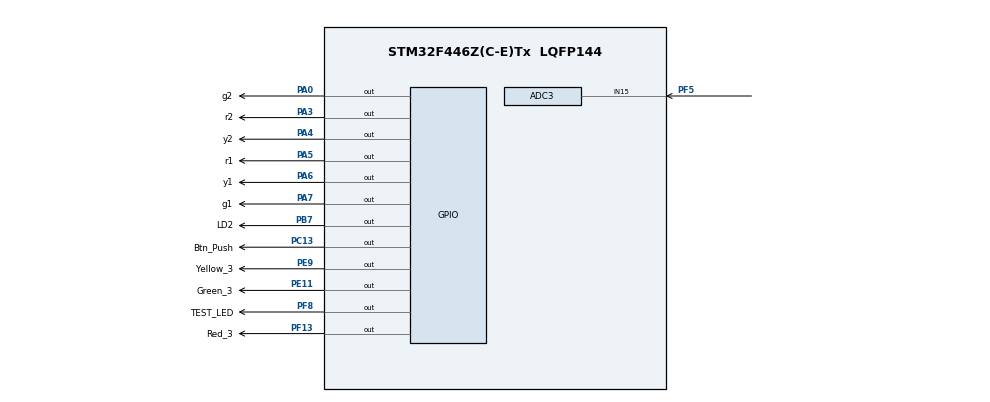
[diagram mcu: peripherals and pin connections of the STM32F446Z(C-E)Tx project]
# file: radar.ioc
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ADC3.Channel-0\#ChannelRegularConversion=ADC_CHANNEL_15
ADC3.NbrOfConversionFlag=1
ADC3.Rank-0\#ChannelRegularConversion=1
ADC3.SamplingTime-0\#ChannelRegularConversion=ADC_SAMPLETIME_3CYCLES
Dma.ADC3.0.Direction=DMA_PERIPH_TO_MEMORY
Dma.ADC3.0.FIFOMode=DMA_FIFOMODE_DISABLE
Dma.ADC3.0.Instance=DMA2_Stream0
Dma.ADC3.0.MemDataAlignment=DMA_MDATAALIGN_WORD
Dma.ADC3.0.MemInc=DMA_MINC_ENABLE
Dma.ADC3.0.Mode=DMA_CIRCULAR
Dma.ADC3.0.PeriphDataAlignment=DMA_PDATAALIGN_WORD
Dma.ADC3.0.PeriphInc=DMA_PINC_DISABLE
Dma.ADC3.0.Priority=DMA_PRIORITY_LOW
Dma.Request0=ADC3
Mcu.Family=STM32F4
Mcu.Name=STM32F446Z(C-E)Tx
Mcu.Package=LQFP144
NVIC.DMA2_Stream0_IRQn=true\:0\:0\:false\:false\:true\:false\:true\:true
NVIC.PriorityGroup=NVIC_PRIORITYGROUP_4
PA0-WKUP.GPIO_Label=g2
PA0-WKUP.Signal=GPIO_Output
PA3.GPIO_Label=r2
PA3.Signal=GPIO_Output
PA4.GPIO_Label=y2
PA4.Signal=GPIO_Output
PA5.GPIO_Label=r1
PA5.Signal=GPIO_Output
PA6.GPIO_Label=y1
PA6.Signal=GPIO_Output
PA7.GPIO_Label=g1
PA7.Signal=GPIO_Output
PB7.GPIO_Label=LD2
PB7.Signal=GPIO_Output
PC13.GPIO_Label=Btn_Push
PC13.Signal=GPIO_Output
PE11.GPIO_Label=Green_3
PE11.Signal=GPIO_Output
PE9.GPIO_Label=Yellow_3
PE9.Signal=GPIO_Output
PF13.GPIO_Label=Red_3
PF13.Signal=GPIO_Output
PF5.Mode=IN15
PF5.Signal=ADC3_IN15
PF8.GPIO_Label=TEST_LED
PF8.PinState=GPIO_PIN_SET
PF8.Signal=GPIO_Output
ProjectManager.HeapSize=0x200
ProjectManager.StackSize=0x400
ProjectManager.TargetToolchain=STM32CubeIDE
RCC.CortexFreq_Value=16000000
RCC.USBFreq_Value=96000000
RCC.VCOOutputFreq_Value=192000000
VP_TIM6_VS_ClockSourceINT.Mode=Enable_Timer
board=custom

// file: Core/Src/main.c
/* USER CODE BEGIN Header */
/**
  ******************************************************************************
  * @file           : main.c
  * @brief          : Main program body
  ******************************************************************************
  * @attention
  *
  * Copyright (c) 2024 STMicroelectronics.
  * All rights reserved.
  *
  * This software is licensed under terms that can be found in the LICENSE file
  * in the root directory of this software component.
  * If no LICENSE file comes with this software, it is provided AS-IS.
  *
  ******************************************************************************
  */
/* USER CODE END Header */
#include "main.h"

ADC_HandleTypeDef hadc3;
DMA_HandleTypeDef hdma_adc3;

TIM_HandleTypeDef htim6;

void SystemClock_Config(void);
static void MX_GPIO_Init(void);
static void MX_DMA_Init(void);
static void MX_ADC3_Init(void);
static void MX_TIM6_Init(void);

/* USER CODE BEGIN 0 */
//typedef struct State{
//	uint8_t output; //1-9
//	uint32_t time;
//	uint8_t next_state; //1-9
//}LightState;

typedef enum {
  STATE_EAST_WEST_GREEN,
  STATE_EAST_WEST_TRANSITION,  // East-West turns from green to red (through orange), North-South remains red
  STATE_NORTH_SOUTH_GREEN,
  STATE_NORTH_SOUTH_TRANSITION // North-South turns from green to red (through orange), East-West remains red
} TrafficState;

typedef struct State{
  TrafficState trafficState;
  uint16_t time;
  struct State* next_state;
} State;

/* USER CODE END 0 */

int main(void)
{
  /* USER CODE BEGIN 1 */
//	LightState light_1;
//	LightState light_2;
//	LightState light_3;

	//define states
	State east_west_green = {STATE_EAST_WEST_GREEN, 3000, NULL};
	State east_west_transition = {STATE_EAST_WEST_TRANSITION, 1000, NULL};
	State north_south_green = {STATE_NORTH_SOUTH_GREEN, 3000, NULL};
	State north_south_transition = {STATE_NORTH_SOUTH_TRANSITION, 1000, NULL};
  /* USER CODE END 1 */

  /* MCU Configuration--------------------------------------------------------*/

  /* Reset of all peripherals, Initializes the Flash interface and the Systick. */
  HAL_Init();

  /* USER CODE BEGIN Init */
  uint32_t timer;
//  if(HAL_TIM_Base_Start(&htim6)!=HAL_OK){
//	  Error_Handler(); //adjust the prescalar for TIM6 in config
//  }

  //if(status==HAL_OK)
  //timer = __HAL_TIM_GET_COUNTER(&htim6);
  /* USER CODE END Init */

  /* Configure the system clock */
  SystemClock_Config();

  /* Initialize all configured peripherals */
  MX_GPIO_Init();
  MX_DMA_Init();
  MX_ADC3_Init();
  MX_TIM6_Init();
  /* USER CODE BEGIN 2 */

  //loop the states
  east_west_green.next_state = &east_west_transition;
  east_west_transition.next_state = &north_south_green;
  north_south_green.next_state = &north_south_transition;
  north_south_transition.next_state = &east_west_green;

  //Set initial state
  State* current_state = &east_west_green;
  /* USER CODE END 2 */

  /* Infinite loop */
  /* USER CODE BEGIN WHILE */
  while (1)
  {
	  HAL_GPIO_TogglePin(LD2_GPIO_Port, LD2_Pin);
	  HAL_Delay(1000);
	  //timer= __HAL_TIM_GET_COUNTER(&htim6) - timer;
	  //for EW, pin A0 = Red, A1 = Orange, A2 = Green
	    //for NS, pin A3 = Red, A4 = Orange, A5 = Green
	    switch(current_state->trafficState) {
	      case STATE_EAST_WEST_GREEN:
	        HAL_GPIO_WritePin(GPIOA, g1_Pin | r2_Pin, GPIO_PIN_SET);
	        HAL_GPIO_WritePin(GPIOA, r1_Pin | y1_Pin | y2_Pin | g2_Pin, GPIO_PIN_RESET);
	        break;
	      case STATE_EAST_WEST_TRANSITION:
	        HAL_GPIO_WritePin(GPIOA, y1_Pin | r2_Pin, GPIO_PIN_SET);
	        HAL_GPIO_WritePin(GPIOA, r1_Pin | g1_Pin | y2_Pin | g2_Pin, GPIO_PIN_RESET);
	        break;
	      case STATE_NORTH_SOUTH_GREEN:
	        HAL_GPIO_WritePin(GPIOA, r1_Pin | g2_Pin, GPIO_PIN_SET);
	        HAL_GPIO_WritePin(GPIOA, y1_Pin | g1_Pin | r2_Pin | y2_Pin, GPIO_PIN_RESET);
	        break;
	      case STATE_NORTH_SOUTH_TRANSITION:
	        HAL_GPIO_WritePin(GPIOA, r1_Pin | y2_Pin, GPIO_PIN_SET);
	        HAL_GPIO_WritePin(GPIOA, y1_Pin | g1_Pin | r2_Pin | g2_Pin, GPIO_PIN_RESET);
	        break;
	    }
	    current_state=current_state->next_state;
	 //
	 //	  HAL_GPIO_TogglePin(GPIOA, Red_1_Pin);
	 //	  HAL_Delay(200);
	 //
	 //	  HAL_GPIO_TogglePin(GPIOA, Yellow_1_Pin);
	 //	  HAL_Delay(200);
	 //
	 //	  HAL_GPIO_TogglePin(GPIOA, Green_1_Pin);
	 //	  HAL_Delay(200);
	 //
	 //
	 //
	 //	  HAL_GPIO_TogglePin(GPIOD, Red_2_Pin);
	 //	  HAL_Delay(200);
	 //
	 //	  HAL_GPIO_TogglePin(GPIOD, Yellow_2_Pin);
	 //	  HAL_Delay(200);
	 //
	 //	  HAL_GPIO_TogglePin(GPIOF, Green_2_Pin);
	 //	  HAL_Delay(200);
	 //
	 //
	 //
	 //	  HAL_GPIO_TogglePin(GPIOF, Red_3_Pin);
	 //	  HAL_Delay(200);
	 //
	 //	  HAL_GPIO_TogglePin(GPIOE, Yellow_3_Pin);
	 //	  HAL_Delay(200);
	 //
	 //	  HAL_GPIO_TogglePin(GPIOE, Green_3_Pin);
	 //	  HAL_Delay(200);

    /* USER CODE END WHILE */

  }
}

void SystemClock_Config(void)
{
  RCC_OscInitTypeDef RCC_OscInitStruct = {0};
  RCC_ClkInitTypeDef RCC_ClkInitStruct = {0};

  /** Configure the main internal regulator output voltage
  */
  __HAL_RCC_PWR_CLK_ENABLE();
  __HAL_PWR_VOLTAGESCALING_CONFIG(PWR_REGULATOR_VOLTAGE_SCALE3);

  /** Initializes the RCC Oscillators according to the specified parameters
  * in the RCC_OscInitTypeDef structure.
  */
  RCC_OscInitStruct.OscillatorType = RCC_OSCILLATORTYPE_HSI;
  RCC_OscInitStruct.HSIState = RCC_HSI_ON;
  RCC_OscInitStruct.HSICalibrationValue = RCC_HSICALIBRATION_DEFAULT;
  RCC_OscInitStruct.PLL.PLLState = RCC_PLL_NONE;
  if (HAL_RCC_OscConfig(&RCC_OscInitStruct) != HAL_OK)
  {
    Error_Handler();
  }

  /** Initializes the CPU, AHB and APB buses clocks
  */
  RCC_ClkInitStruct.ClockType = RCC_CLOCKTYPE_HCLK|RCC_CLOCKTYPE_SYSCLK
                              |RCC_CLOCKTYPE_PCLK1|RCC_CLOCKTYPE_PCLK2;
  RCC_ClkInitStruct.SYSCLKSource = RCC_SYSCLKSOURCE_HSI;
  RCC_ClkInitStruct.AHBCLKDivider = RCC_SYSCLK_DIV1;
  RCC_ClkInitStruct.APB1CLKDivider = RCC_HCLK_DIV1;
  RCC_ClkInitStruct.APB2CLKDivider = RCC_HCLK_DIV1;

  if (HAL_RCC_ClockConfig(&RCC_ClkInitStruct, FLASH_LATENCY_0) != HAL_OK)
  {
    Error_Handler();
  }
}

static void MX_ADC3_Init(void)
{

  ADC_ChannelConfTypeDef sConfig = {0};

  /** Configure the global features of the ADC (Clock, Resolution, Data Alignment and number of conversion)
  */
  hadc3.Instance = ADC3;
  hadc3.Init.ClockPrescaler = ADC_CLOCK_SYNC_PCLK_DIV2;
  hadc3.Init.Resolution = ADC_RESOLUTION_12B;
  hadc3.Init.ScanConvMode = DISABLE;
  hadc3.Init.ContinuousConvMode = DISABLE;
  hadc3.Init.DiscontinuousConvMode = DISABLE;
  hadc3.Init.ExternalTrigConvEdge = ADC_EXTERNALTRIGCONVEDGE_NONE;
  hadc3.Init.ExternalTrigConv = ADC_SOFTWARE_START;
  hadc3.Init.DataAlign = ADC_DATAALIGN_RIGHT;
  hadc3.Init.NbrOfConversion = 1;
  hadc3.Init.DMAContinuousRequests = DISABLE;
  hadc3.Init.EOCSelection = ADC_EOC_SINGLE_CONV;
  if (HAL_ADC_Init(&hadc3) != HAL_OK)
  {
    Error_Handler();
  }

  /** Configure for the selected ADC regular channel its corresponding rank in the sequencer and its sample time.
  */
  sConfig.Channel = ADC_CHANNEL_15;
  sConfig.Rank = 1;
  sConfig.SamplingTime = ADC_SAMPLETIME_3CYCLES;
  if (HAL_ADC_ConfigChannel(&hadc3, &sConfig) != HAL_OK)
  {
    Error_Handler();
  }

}

static void MX_TIM6_Init(void)
{

  TIM_MasterConfigTypeDef sMasterConfig = {0};

  htim6.Instance = TIM6;
  htim6.Init.Prescaler = 0;
  htim6.Init.CounterMode = TIM_COUNTERMODE_UP;
  htim6.Init.Period = 65535;
  htim6.Init.AutoReloadPreload = TIM_AUTORELOAD_PRELOAD_DISABLE;
  if (HAL_TIM_Base_Init(&htim6) != HAL_OK)
  {
    Error_Handler();
  }
  sMasterConfig.MasterOutputTrigger = TIM_TRGO_RESET;
  sMasterConfig.MasterSlaveMode = TIM_MASTERSLAVEMODE_DISABLE;
  if (HAL_TIMEx_MasterConfigSynchronization(&htim6, &sMasterConfig) != HAL_OK)
  {
    Error_Handler();
  }

}

static void MX_DMA_Init(void)
{

  /* DMA controller clock enable */
  __HAL_RCC_DMA2_CLK_ENABLE();

  /* DMA interrupt init */
  /* DMA2_Stream0_IRQn interrupt configuration */
  HAL_NVIC_SetPriority(DMA2_Stream0_IRQn, 0, 0);
  HAL_NVIC_EnableIRQ(DMA2_Stream0_IRQn);

}

static void MX_GPIO_Init(void)
{
  GPIO_InitTypeDef GPIO_InitStruct = {0};

  /* GPIO Ports Clock Enable */
  __HAL_RCC_GPIOC_CLK_ENABLE();
  __HAL_RCC_GPIOF_CLK_ENABLE();
  __HAL_RCC_GPIOA_CLK_ENABLE();
  __HAL_RCC_GPIOE_CLK_ENABLE();
  __HAL_RCC_GPIOB_CLK_ENABLE();

  /*Configure GPIO pin Output Level */
  HAL_GPIO_WritePin(Btn_Push_GPIO_Port, Btn_Push_Pin, GPIO_PIN_RESET);

  /*Configure GPIO pin Output Level */
  HAL_GPIO_WritePin(TEST_LED_GPIO_Port, TEST_LED_Pin, GPIO_PIN_SET);

  /*Configure GPIO pin Output Level */
  HAL_GPIO_WritePin(GPIOA, g2_Pin|r2_Pin|y2_Pin|r1_Pin
                          |y1_Pin|g1_Pin, GPIO_PIN_RESET);

  /*Configure GPIO pin Output Level */
  HAL_GPIO_WritePin(Red_3_GPIO_Port, Red_3_Pin, GPIO_PIN_RESET);

  /*Configure GPIO pin Output Level */
  HAL_GPIO_WritePin(GPIOE, Yellow_3_Pin|Green_3_Pin, GPIO_PIN_RESET);

  /*Configure GPIO pin Output Level */
  HAL_GPIO_WritePin(LD2_GPIO_Port, LD2_Pin, GPIO_PIN_RESET);

  /*Configure GPIO pin : Btn_Push_Pin */
  GPIO_InitStruct.Pin = Btn_Push_Pin;
  GPIO_InitStruct.Mode = GPIO_MODE_OUTPUT_PP;
  GPIO_InitStruct.Pull = GPIO_NOPULL;
  GPIO_InitStruct.Speed = GPIO_SPEED_FREQ_LOW;
  HAL_GPIO_Init(Btn_Push_GPIO_Port, &GPIO_InitStruct);

  /*Configure GPIO pins : TEST_LED_Pin Red_3_Pin */
  GPIO_InitStruct.Pin = TEST_LED_Pin|Red_3_Pin;
  GPIO_InitStruct.Mode = GPIO_MODE_OUTPUT_PP;
  GPIO_InitStruct.Pull = GPIO_NOPULL;
  GPIO_InitStruct.Speed = GPIO_SPEED_FREQ_LOW;
  HAL_GPIO_Init(GPIOF, &GPIO_InitStruct);

  /*Configure GPIO pins : g2_Pin r2_Pin y2_Pin r1_Pin
                           y1_Pin g1_Pin */
  GPIO_InitStruct.Pin = g2_Pin|r2_Pin|y2_Pin|r1_Pin
                          |y1_Pin|g1_Pin;
  GPIO_InitStruct.Mode = GPIO_MODE_OUTPUT_PP;
  GPIO_InitStruct.Pull = GPIO_NOPULL;
  GPIO_InitStruct.Speed = GPIO_SPEED_FREQ_LOW;
  HAL_GPIO_Init(GPIOA, &GPIO_InitStruct);

  /*Configure GPIO pins : Yellow_3_Pin Green_3_Pin */
  GPIO_InitStruct.Pin = Yellow_3_Pin|Green_3_Pin;
  GPIO_InitStruct.Mode = GPIO_MODE_OUTPUT_PP;
  GPIO_InitStruct.Pull = GPIO_NOPULL;
  GPIO_InitStruct.Speed = GPIO_SPEED_FREQ_LOW;
  HAL_GPIO_Init(GPIOE, &GPIO_InitStruct);

  /*Configure GPIO pin : LD2_Pin */
  GPIO_InitStruct.Pin = LD2_Pin;
  GPIO_InitStruct.Mode = GPIO_MODE_OUTPUT_PP;
  GPIO_InitStruct.Pull = GPIO_NOPULL;
  GPIO_InitStruct.Speed = GPIO_SPEED_FREQ_LOW;
  HAL_GPIO_Init(LD2_GPIO_Port, &GPIO_InitStruct);

}

void Error_Handler(void)
{
  __disable_irq();
  while (1)
  {
  }
}
